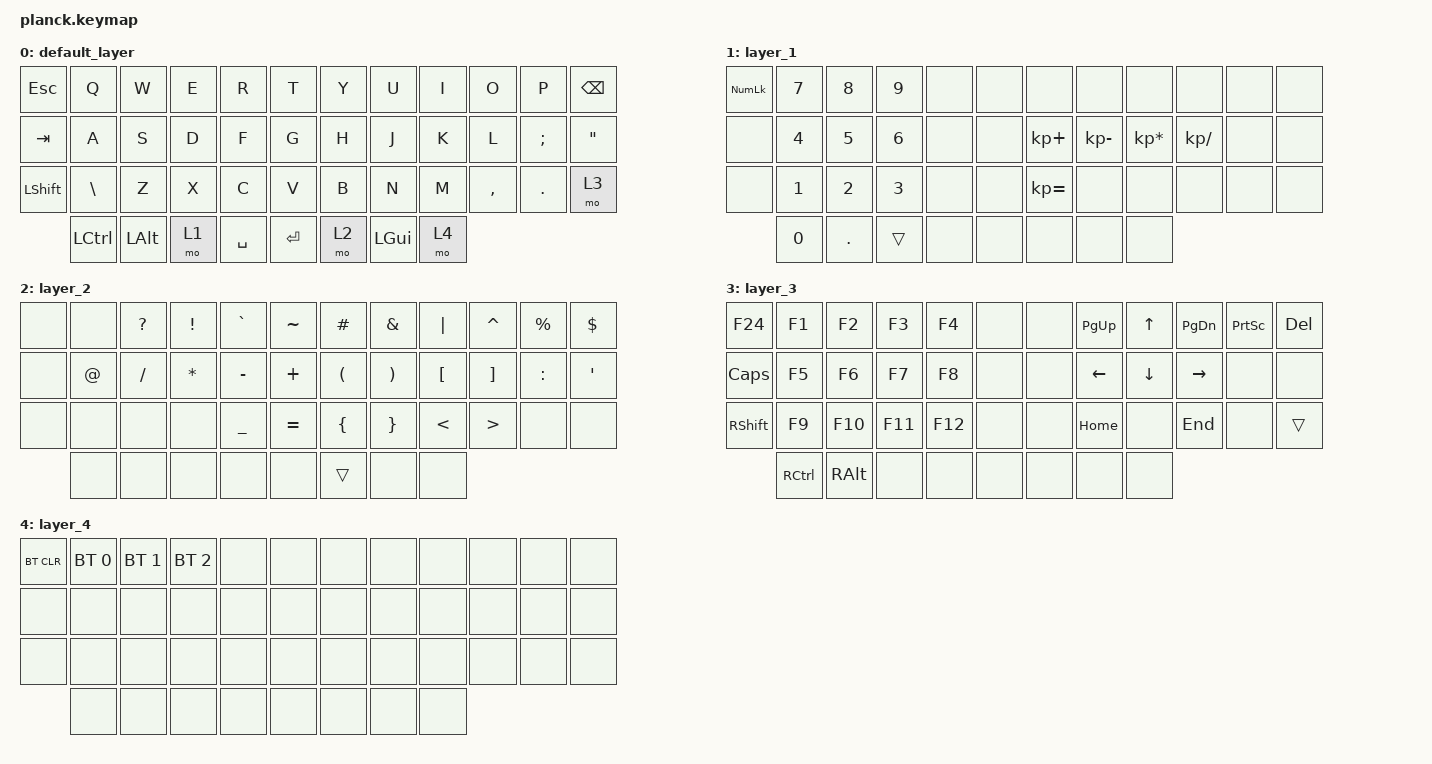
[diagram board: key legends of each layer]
#include <behaviors.dtsi>
#include <dt-bindings/zmk/keys.h>
#include <dt-bindings/zmk/bt.h>

/*
/ {
	chosen {
		zmk,physical-layout = &matrix_physical_layout;
	};
};
*/

/ {
	keymap {
		compatible = "zmk,keymap";

		default_layer {
		// --------------------------------------------------------------------------------------------------------------------------------------------------------------------
		// |   ESC   |    Q    |    W    |    E    |    R    |    T    |        |    Y    |    U    |    I    |    O    |    P    |BACKSPACE|
		// |   TAB   |    A    |    S    |    D    |    F    |    G    |        |    H    |    J    |    K    |    L    |    ;    |    "    |
		// |  SHIFT  |    \    |    Z    |    X    |    C    |    V    |        |    B    |    N    |    M    |    ,    |    .    |  FUNC   |
		//                     |   CTL   |   ALT   |  LOWER  |  SPACE  |        |  ENTER  |  RAISE  |   GUI   |   BLE   |

			bindings = <
&kp ESC		&kp Q		&kp W		&kp E		&kp R		&kp T			&kp Y		&kp U		&kp I		&kp O		&kp P		&kp BSPC
&kp TAB		&kp A		&kp S		&kp D		&kp F		&kp G			&kp H		&kp J		&kp K		&kp L		&kp SEMI	&kp DQT
&kp LSHIFT	&kp BACKSLASH	&kp Z		&kp X		&kp C		&kp V			&kp B		&kp N		&kp M		&kp COMMA	&kp DOT		&mo 3
				&kp LCTL	&kp LALT	&mo 1		&kp SPACE		&kp ENTER	&mo 2		&kp LGUI	&mo 4
			>;
		};

		layer_1 {
			bindings = <
&kp KP_NLCK	&kp N7		&kp N8		&kp N9		&none		&none			&none		&none		&none		&none		&none		&none
&none		&kp N4		&kp N5		&kp N6		&none		&none			&kp KP_PLUS	&kp KP_MINUS	&kp KP_MULTIPLY	&kp KP_DIVIDE	&none		&none
&none		&kp N1		&kp N2		&kp N3		&none		&none			&kp KP_EQUAL	&none		&none		&none		&none		&none
				&kp N0		&kp DOT		&trans		&none			&none		&none		&none		&none
			>;
		};

		layer_2 {
			bindings = <
&none		&none		&kp QUESTION	&kp EXCLAMATION	&kp GRAVE	&kp TILDE		&kp HASH	&kp AMPS	&kp PIPE	&kp CARET	&kp PERCENT	&kp DOLLAR
&none		&kp AT_SIGN	&kp SLASH	&kp ASTERISK	&kp MINUS	&kp PLUS		&kp LPAR	&kp RPAR	&kp LBKT	&kp RBKT	&kp COLON	&kp SINGLE_QUOTE
&none		&none		&none		&none		&kp UNDERSCORE	&kp EQUAL		&kp LBRC 	&kp RBRC	&kp LT		&kp GT		&none		&none
				&none		&none		&none		&none			&none		&trans		&none		&none
			>;
		};

		layer_3 {
			bindings = <
&kp F24		&kp F1		&kp F2		&kp F3		&kp F4		&none			&none		&kp PAGE_UP	&kp UP_ARROW	&kp PAGE_DOWN	&kp PRINTSCREEN	&kp DELETE
&kp CAPSLOCK	&kp F5		&kp F6		&kp F7		&kp F8		&none			&none		&kp LEFT_ARROW	&kp DOWN_ARROW	&kp RIGHT_ARROW	&none		&none
&kp RSHIFT	&kp F9		&kp F10		&kp F11		&kp F12		&none			&none		&kp HOME	&none		&kp END		&none		&trans
				&kp RCTL	&kp RALT	&none		&none			&none		&none		&none		&none
			>;
		};

		layer_4 {
			bindings = <
&bt BT_CLR	&bt BT_SEL 0	&bt BT_SEL 1	&bt BT_SEL 2	&none		&none			&none		&none		&none		&none		&none		&none
&none		&none		&none		&none		&none		&none			&none		&none		&none		&none		&none		&none
&none		&none		&none		&none		&none		&none			&none		&none		&none		&none		&none		&none
				&none		&none		&none		&none			&none		&none		&none		&none
			>;
		};
	};
};
